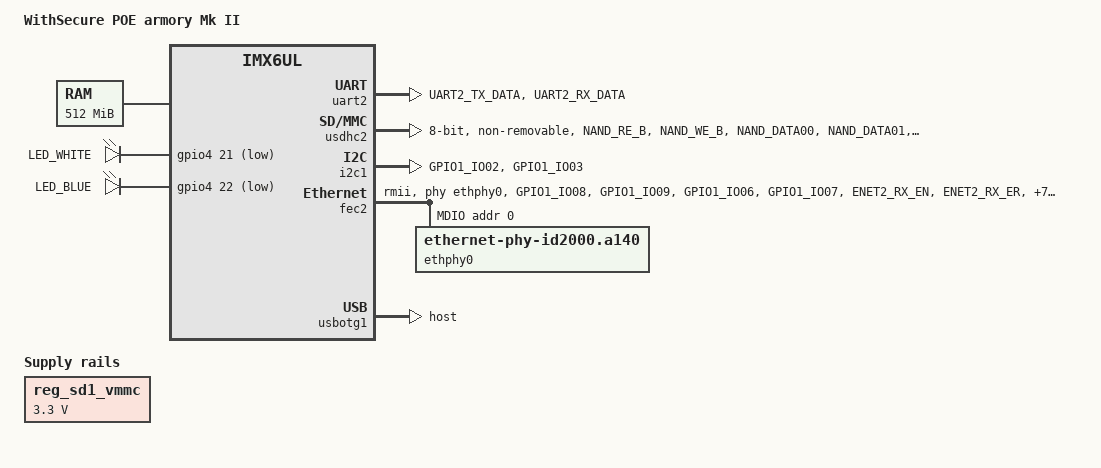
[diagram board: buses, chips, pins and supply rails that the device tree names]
/*
 * USB armory Mk II LAN device tree file
 * https://github.com/usbarmory/usbarmory
 *
 * Copyright (C) 2024, WithSecure Corporation
 * Andrej Rosano <andrej.rosano@withsecure.com>
 *
 * This file is dual-licensed: you can use it either under the terms
 * of the GPL or the X11 license, at your option. Note that this dual
 * licensing only applies to this file, and not this project as a
 * whole.
 *
 *  a) This file is free software; you can redistribute it and/or
 *     modify it under the terms of the GNU General Public License as
 *     published by the Free Software Foundation; either version 2 of the
 *     License, or (at your option) any later version.
 *
 *     This file is distributed in the hope that it will be useful,
 *     but WITHOUT ANY WARRANTY; without even the implied warranty of
 *     MERCHANTABILITY or FITNESS FOR A PARTICULAR PURPOSE.  See the
 *     GNU General Public License for more details.
 *
 * Or, alternatively,
 *
 *  b) Permission is hereby granted, free of charge, to any person
 *     obtaining a copy of this software and associated documentation
 *     files (the "Software"), to deal in the Software without
 *     restriction, including without limitation the rights to use,
 *     copy, modify, merge, publish, distribute, sublicense, and/or
 *     sell copies of the Software, and to permit persons to whom the
 *     Software is furnished to do so, subject to the following
 *     conditions:
 *
 *     The above copyright notice and this permission notice shall be
 *     included in all copies or substantial portions of the Software.
 *
 *     THE SOFTWARE IS PROVIDED "AS IS", WITHOUT WARRANTY OF ANY KIND,
 *     EXPRESS OR IMPLIED, INCLUDING BUT NOT LIMITED TO THE WARRANTIES
 *     OF MERCHANTABILITY, FITNESS FOR A PARTICULAR PURPOSE AND
 *     NONINFRINGEMENT. IN NO EVENT SHALL THE AUTHORS OR COPYRIGHT
 *     HOLDERS BE LIABLE FOR ANY CLAIM, DAMAGES OR OTHER LIABILITY,
 *     WHETHER IN AN ACTION OF CONTRACT, TORT OR OTHERWISE, ARISING
 *     FROM, OUT OF OR IN CONNECTION WITH THE SOFTWARE OR THE USE OR
 *     OTHER DEALINGS IN THE SOFTWARE.
 */

/dts-v1/;

#include "imx6ul.dtsi"

/ {
	model = "WithSecure POE armory Mk II";
	compatible = "inversepath,imx6ul-usbarmory-mkII-lan", "fsl,imx6ul";

	chosen {
		stdout-path = &uart2;
	};

	memory {
		device_type = "memory";
		reg = <0x80000000 0x20000000>;
	};

	leds {
		compatible = "gpio-leds";
		pinctrl-names = "default";
		pinctrl-0 = <&pinctrl_led>;

		led-white {
			label = "LED_WHITE";
			gpios = <&gpio4 21 GPIO_ACTIVE_LOW>;
			linux,default-trigger = "heartbeat";
		};

		led-blue {
			label = "LED_BLUE";
			gpios = <&gpio4 22 GPIO_ACTIVE_LOW>;
		};
	};

	regulators {
		compatible = "simple-bus";
		#address-cells = <1>;
		#size-cells = <0>;

		reg_sd1_vmmc: sd1_regulator {
			compatible = "regulator-fixed";
			regulator-name = "VSD_3V3";
			regulator-min-microvolt = <3300000>;
			regulator-max-microvolt = <3300000>;
		};
	};
};

&uart2 {
	pinctrl-names = "default";
	pinctrl-0 = <&pinctrl_uart2>;
	status = "okay";
};

&usdhc2 {
	pinctrl-names = "default", "state_100mhz", "state_200mhz";
	pinctrl-0 = <&pinctrl_usdhc2>;
	pinctrl-1 = <&pinctrl_usdhc2_100mhz>;
	pinctrl-2 = <&pinctrl_usdhc2_200mhz>;
	bus-width = <8>;
	non-removable;
	status = "okay";
};

&i2c1 {
	pinctrl-0 = <&pinctrl_i2c1>;
	status = "okay";
};

&fec2 {
	pinctrl-names = "default";
	pinctrl-0 = <&pinctrl_enet2>;
	phy-mode = "rmii";
	phy-handle = <&ethphy0>;
	phy-reset-gpios = <&gpio1 8 GPIO_ACTIVE_LOW>;
	status = "okay";

	mdio {
		#address-cells = <1>;
		#size-cells = <0>;

		ethphy0: ethernet-phy@0 {
			compatible = "ethernet-phy-id2000.a140";
			//compatible = "ethernet-phy-ieee802.3-c22";
			reg = <0>;
			ti,reg-init = <0x1f 0x17 0xff7f 0x80>;
			clocks = <&clks IMX6UL_CLK_ENET2_REF>;
			clock-names = "rmii-ref";

		};
	};
};

&iomuxc {
	pinctrl_uart2: uart2grp {
		fsl,pins = <
			MX6UL_PAD_UART2_TX_DATA__UART2_DCE_TX	0x1b0b1
			MX6UL_PAD_UART2_RX_DATA__UART2_DCE_RX	0x1b0b1
		>;
	};

	pinctrl_i2c1: i2c1grp {
		fsl,pins = <
			MX6UL_PAD_GPIO1_IO02__I2C1_SCL	0x4001b8b0
			MX6UL_PAD_GPIO1_IO03__I2C1_SDA	0x4001b8b0
		>;
	};

	pinctrl_led: ledgrp {
		fsl,pins = <
			MX6UL_PAD_CSI_DATA00__GPIO4_IO21	0x1f020
			MX6UL_PAD_CSI_DATA01__GPIO4_IO22	0x1f020
		>;
	};

	pinctrl_usdhc2: usdhc2grp {
		fsl,pins = <
			MX6UL_PAD_NAND_RE_B__USDHC2_CLK		0x10069
			MX6UL_PAD_NAND_WE_B__USDHC2_CMD		0x17059
			MX6UL_PAD_NAND_DATA00__USDHC2_DATA0	0x17059
			MX6UL_PAD_NAND_DATA01__USDHC2_DATA1	0x17059
			MX6UL_PAD_NAND_DATA02__USDHC2_DATA2	0x17059
			MX6UL_PAD_NAND_DATA03__USDHC2_DATA3	0x17059
			MX6UL_PAD_NAND_DATA04__USDHC2_DATA4	0x17059
			MX6UL_PAD_NAND_DATA05__USDHC2_DATA5	0x17059
			MX6UL_PAD_NAND_DATA06__USDHC2_DATA6	0x17059
			MX6UL_PAD_NAND_DATA07__USDHC2_DATA7	0x17059
		>;
	};

	pinctrl_usdhc2_100mhz: usdhc2grp_100mhz {
		fsl,pins = <
			MX6UL_PAD_NAND_RE_B__USDHC2_CLK		0x100b9
			MX6UL_PAD_NAND_WE_B__USDHC2_CMD		0x170b9
			MX6UL_PAD_NAND_DATA00__USDHC2_DATA0	0x170b9
			MX6UL_PAD_NAND_DATA01__USDHC2_DATA1	0x170b9
			MX6UL_PAD_NAND_DATA02__USDHC2_DATA2	0x170b9
			MX6UL_PAD_NAND_DATA03__USDHC2_DATA3	0x170b9
			MX6UL_PAD_NAND_DATA04__USDHC2_DATA4	0x170b9
			MX6UL_PAD_NAND_DATA05__USDHC2_DATA5	0x170b9
			MX6UL_PAD_NAND_DATA06__USDHC2_DATA6	0x170b9
			MX6UL_PAD_NAND_DATA07__USDHC2_DATA7	0x170b9
		>;
	};

	pinctrl_usdhc2_200mhz: usdhc2grp_200mhz {
		fsl,pins = <
			MX6UL_PAD_NAND_RE_B__USDHC2_CLK		0x100f9
			MX6UL_PAD_NAND_WE_B__USDHC2_CMD		0x170f9
			MX6UL_PAD_NAND_DATA00__USDHC2_DATA0	0x170f9
			MX6UL_PAD_NAND_DATA01__USDHC2_DATA1	0x170f9
			MX6UL_PAD_NAND_DATA02__USDHC2_DATA2	0x170f9
			MX6UL_PAD_NAND_DATA03__USDHC2_DATA3	0x170f9
			MX6UL_PAD_NAND_DATA04__USDHC2_DATA4	0x170f9
			MX6UL_PAD_NAND_DATA05__USDHC2_DATA5	0x170f9
			MX6UL_PAD_NAND_DATA06__USDHC2_DATA6	0x170f9
			MX6UL_PAD_NAND_DATA07__USDHC2_DATA7	0x170f9
		>;
	};

	pinctrl_enet2: enet2grp {
		fsl,pins = <
			MX6UL_PAD_GPIO1_IO08__GPIO1_IO08	0xb008	// ENET_nRST
			MX6UL_PAD_GPIO1_IO09__GPIO1_IO09	0xb008	// ENET_PWRDN

			MX6UL_PAD_GPIO1_IO06__ENET2_MDIO	0x1b0b0
			MX6UL_PAD_GPIO1_IO07__ENET2_MDC		0x1b0b0

			MX6UL_PAD_ENET2_RX_EN__ENET2_RX_EN	0x1b0b0
			MX6UL_PAD_ENET2_RX_ER__ENET2_RX_ER	0x1b0b0
			MX6UL_PAD_ENET2_RX_DATA0__ENET2_RDATA00	0x1b0b0
			MX6UL_PAD_ENET2_RX_DATA1__ENET2_RDATA01	0x1b0b0
			MX6UL_PAD_ENET2_TX_EN__ENET2_TX_EN	0x1b0b0
			MX6UL_PAD_ENET2_TX_DATA0__ENET2_TDATA00	0x1b0b0
			MX6UL_PAD_ENET2_TX_DATA1__ENET2_TDATA01	0x1b0b0
			MX6UL_PAD_ENET2_TX_CLK__ENET2_REF_CLK2	0x4001b031
		>;
	};
};

/ {
	soc {
		caam_sm: caam-sm@00100000 {
			 compatible = "fsl,imx7d-caam-sm", "fsl,imx6q-caam-sm";
			 reg = <0x00100000 0x3fff>;
		};

		irq_sec_vio: caam_secvio {
			     compatible = "fsl,imx7d-caam-secvio", "fsl,imx6q-caam-secvio";
			     interrupts = <GIC_SPI 20 IRQ_TYPE_LEVEL_HIGH>;
		};
	};

	caam_keyblob: caam-keyblob {
		compatible = "fsl,sec-v4.0-keyblob";
		status = "okay";
	};
};

&usbotg1 {
	dr_mode = "host";
	disable-over-current;
	tpl-support;
	status = "okay";
};
